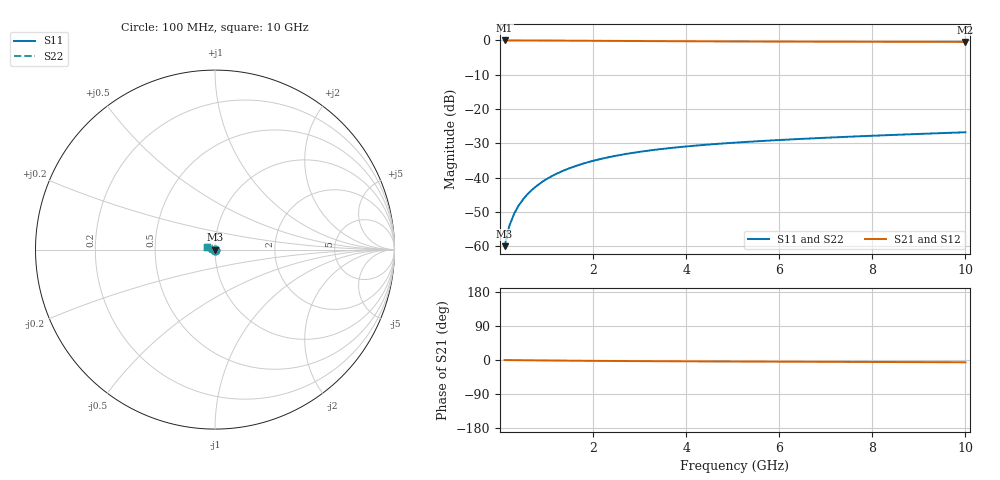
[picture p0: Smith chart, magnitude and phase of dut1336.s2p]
! Touchstone file exported from HFSS 2024.1.0
!  File:  C:/UserFiles/LocalFiles/RDL_TSV_Batchsim/temp_TSV1_1336_1780375888.aedt
!  Generated:  12:57:53 PM Jun  2, 2026
!  Design:  TSV1
!  Project:  temp_TSV1_1336_1780375888
!  Setup:  Setup1
!  Solution:  Sweep
! Variables:
!  dtsv = 7.65um
!  hbump = 3um
!  htsv = 92.52um
!  lrdl = 252.1521522um
!  p = 40
!  p1 = 52.09um
!  t = 500um
!  trdl = 3um
!  wrdl = 24.89489489um
# GHz S MA R 50.000000
! Terminal data exported
! Port[1] = TSV22_T1
! Port[2] = TSV22_T2
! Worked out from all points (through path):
!   100 points, 100 MHz to 10 GHz, reference 50 ohm
!   highest |S21| = 0.00 dB at 100 MHz (marker M1); lowest = -0.4 dB at 10 GHz (marker M2)
!   lowest |S11| = -59.9 dB at 100 MHz (marker M3), VSWR 1.00, Z = 50 - j0.0984 ohm
!   |S11| at or under -10 dB: start of sweep to end of sweep
!   |S22| runs from -59.9 to -26.7 dB; largest |S21 - S12| = 7.1e-15
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0.1  0.001011 -76.5  0.9997 -0.1  0.9997 -0.1  0.001011 -76.5
! Gamma 0 0 0 0
! Port Impedance 50 0 50 0
0.2  0.00198 -86.0  0.9996 -0.3  0.9996 -0.3  0.00198 -86.0
0.3  0.002955 -90.7  0.9994 -0.4  0.9994 -0.4  0.002955 -90.7
0.4  0.003928 -94.0  0.9991 -0.5  0.9991 -0.5  0.003928 -94.0
0.5  0.004893 -96.8  0.9988 -0.6  0.9988 -0.6  0.004893 -96.8
0.6  0.005851 -99.3  0.9984 -0.8  0.9984 -0.8  0.005851 -99.3
0.7  0.006797 -101.7  0.998 -0.9  0.998 -0.9  0.006797 -101.7
0.8  0.007732 -103.9  0.9975 -1.0  0.9975 -1.0  0.007732 -103.9
0.9  0.008654 -106.1  0.997 -1.1  0.997 -1.1  0.008654 -106.1
1.1  0.01045 -110.2  0.9958 -1.3  0.9958 -1.3  0.01045 -110.2
1.4  0.01302 -116.1  0.9936 -1.7  0.9936 -1.7  0.01302 -116.1
1.6  0.01465 -119.9  0.992 -1.9  0.992 -1.9  0.01465 -119.9
1.8  0.01619 -123.5  0.9904 -2.0  0.9904 -2.0  0.01619 -123.5
2.1  0.01836 -128.6  0.9878 -2.3  0.9878 -2.3  0.01836 -128.6
2.5  0.02099 -135.1  0.9844 -2.6  0.9844 -2.6  0.02099 -135.1
2.9  0.02333 -141.1  0.9811 -2.9  0.9811 -2.9  0.02333 -141.1
3.4  0.02592 -148.0  0.9772 -3.2  0.9772 -3.2  0.02592 -148.0
4.2  0.02941 -157.7  0.9717 -3.6  0.9717 -3.6  0.02941 -157.7
5.1  0.03267 -167.2  0.9667 -4.0  0.9667 -4.0  0.03267 -167.2
6.7  0.03749 178.9  0.9604 -4.7  0.9604 -4.7  0.03749 178.9
8.4  0.04198 167.1  0.9559 -5.3  0.9559 -5.3  0.04198 167.1
10  0.04604 158.0  0.9529 -6.0  0.9529 -6.0  0.04604 158.0
